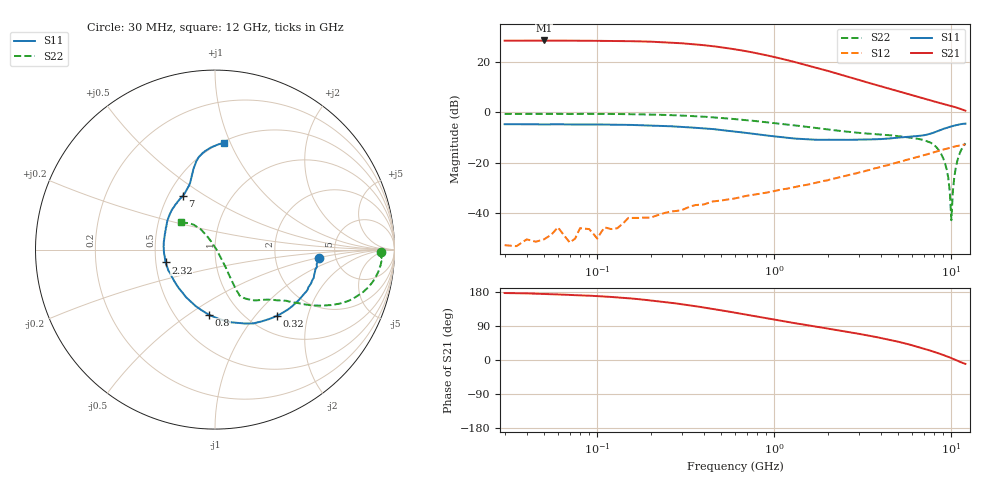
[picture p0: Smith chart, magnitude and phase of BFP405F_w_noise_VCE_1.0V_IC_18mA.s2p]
! Infineon Technologies  Discrete & RF Semiconductors
! BFP405F
! VCE =  1.0 V,  IC =  18 mA
! Common Emitter S-Parameters:  Nov 2015
# GHz  S  MA  R  50
!  f  S11  S21  S12  S22
! GHz  MAG  ANG  MAG  ANG  MAG  ANG  MAG  ANG
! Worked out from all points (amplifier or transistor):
!   239 points, 30 MHz to 12 GHz, reference 50 ohm
!   highest |S21| = 28.5 dB at 50 MHz (marker M1)
!   |S21| within 3 dB of that: start of sweep to 536.8 MHz
!   unconditionally stable (mu >= 1): 65.91 MHz to 73.36 MHz; 1.26 GHz to end of sweep
!   at 300 MHz: K = 0.43, MSG = 33.1 dB, |S12| = -38.9 dB
!   at 1.88 GHz: K = 1.22, MAG = 19.3 dB, |S12| = -27.3 dB
!   at 12 GHz: K = 1.47, MAG = 2.6 dB, |S12| = -12.8 dB
!   lowest NFmin = 2.14 dB at 450 MHz
!   S11 on the Smith chart (normalised r, x): 30 MHz: 3.67, -0.52; 320 MHz: 1.32, -1.30; 800 MHz: 0.72, -0.61; 2.32 GHz: 0.56, -0.09; 7 GHz: 0.59, +0.40; 12 GHz: 0.52, +0.94
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0.03  0.5789 -4.7  26.25 176.7  0.0023 120.8  0.9239 -0.8
0.05  0.5722 -8.0  26.53 174.2  0.003 108.2  0.9253 -2.0
0.085  0.5703 -13.7  26.21 170.1  0.0049 77.0  0.9289 -4.4
0.1  0.5724 -15.8  26.07 168.6  0.0031 76.9  0.927 -5.4
0.15  0.5619 -23.8  25.72 163.1  0.008 80.9  0.9149 -8.4
0.2  0.5452 -30.9  25.12 157.1  0.0081 78.8  0.9002 -11.1
0.24  0.533 -36.5  24.34 153.1  0.01 75.7  0.8846 -13.2
0.32  0.5044 -46.9  22.9 145.4  0.0126 71.6  0.8497 -16.7
0.45  0.4632 -62.6  20.42 134.6  0.017 70.1  0.792 -21.3
0.6  0.4138 -78.1  17.69 124.6  0.0195 66.2  0.7298 -24.9
0.8  0.3659 -95.0  14.71 114.3  0.0237 63.0  0.6621 -28.1
1.1  0.3189 -115.3  11.49 103.1  0.0294 62.6  0.5859 -31.4
1.3  0.3004 -126.9  9.94 97.2  0.0326 63.3  0.5481 -32.9
1.64  0.2867 -142.5  8.018 89.7  0.0384 62.8  0.498 -35.3
2.32  0.2845 -165.4  5.69 78.0  0.051 63.0  0.4274 -40.9
4.5  0.3022 153.7  2.891 53.2  0.092 57.3  0.3497 -53.7
7  0.3492 120.9  1.866 29.7  0.1407 46.0  0.2797 -61.8
9.2  0.4778 103.9  1.429 11.6  0.1851 34.4  0.0979 -58.2
9.6  0.5013 102.1  1.374 8.4  0.1932 32.2  0.0506 -53.7
10  0.523 100.0  1.325 5.0  0.2012 29.7  0.0072 27.4
10.6  0.5516 95.7  1.25 0.1  0.2115 25.7  0.0804 120.0
12  0.5933 85.4  1.072 -10.1  0.2299 18.3  0.2429 141.1
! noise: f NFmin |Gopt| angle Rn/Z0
0.45  2.14  0.04  -3  0.51
0.9  2.16  0.03  -6  0.3
1.5  2.2  0.02  -39  0.2
1.9  2.26  0.02  -85  0.26
2.4  2.41  0.02  -104  0.39
3  2.5  0.04  -109  0.06
3.5  2.58  0.06  -113  0.22
4.5  2.8  0.12  -102  0.4
5.5  3.09  0.21  -88  0.41
